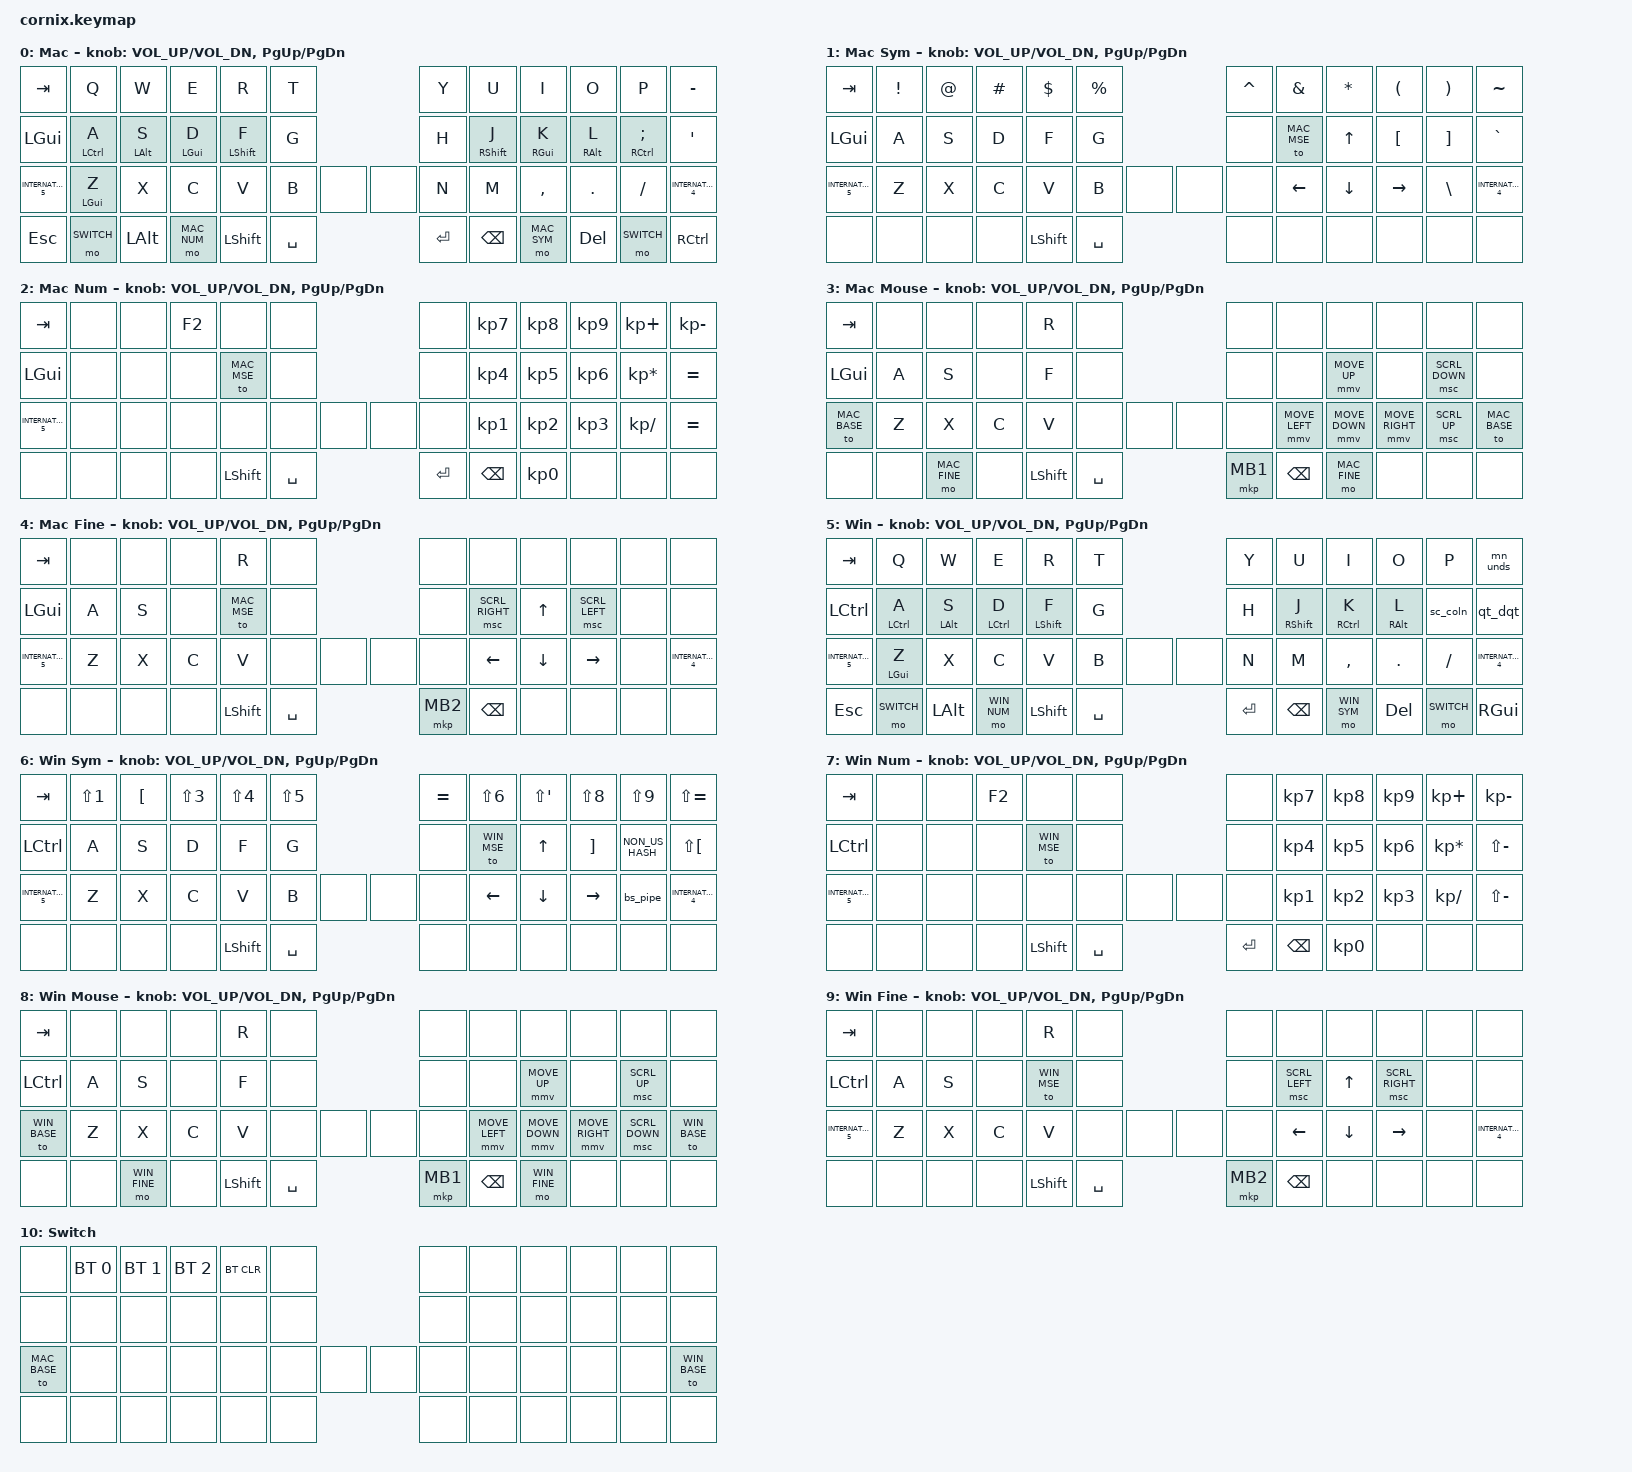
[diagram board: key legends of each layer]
/*
 * Copyright (c) 2020 The ZMK Contributors
 *
 * SPDX-License-Identifier: MIT
 */

#include "zmk-helpers/helper.h"
#include "includes/cornix54.h"
#include <behaviors.dtsi>
#include <dt-bindings/zmk/bt.h>
#include <dt-bindings/zmk/ext_power.h>
#include <dt-bindings/zmk/keys.h>

#define ZMK_POINTING_DEFAULT_MOVE_VAL 4000   // max cursor speed (px/s, default 600)
#define ZMK_POINTING_DEFAULT_SCRL_VAL 15
#include <dt-bindings/zmk/pointing.h>

#define HM_TAPPING_TERM      250
#define HM_TAPPING_TERM_FAST 200
#define HM_PRIOR_IDLE        70

#define MAC_BASE  0
#define MAC_SYM   1
#define MAC_NUM   2
#define MAC_MSE   3
#define MAC_FINE  4
#define WIN_BASE  5
#define WIN_SYM   6
#define WIN_NUM   7
#define WIN_MSE   8
#define WIN_FINE  9
#define SWITCH   10

#define KEYS_L LT0 LT1 LT2 LT3 LT4 LT5 LM0 LM1 LM2 LM3 LM4 LM5 LB0 LB1 LB2 LB3 LB4 LB5
#define KEYS_R RT0 RT1 RT2 RT3 RT4 RT5 RM0 RM1 RM2 RM3 RM4 RM5 RB0 RB1 RB2 RB3 RB4 RB5
#define KEYS_T LH1 LH0 RH0 RH1

&mmv {
    time-to-max-speed-ms = <700>;            // accelerate over 0.7s (default 300)
};

/ {
    behaviors {
        hm_l: homerow_mods_left {
            compatible = "zmk,behavior-hold-tap";
            #binding-cells = <2>;
            bindings = <&kp>, <&kp>;

            flavor = "balanced";
            tapping-term-ms = <HM_TAPPING_TERM>;
            quick-tap-ms = <200>;                // repeat on tap-into-hold
            require-prior-idle-ms = <HM_PRIOR_IDLE>;
            hold-trigger-key-positions = <KEYS_R KEYS_T>;
            hold-trigger-on-release;
        };

        hm_r: homerow_mods_right {
            compatible = "zmk,behavior-hold-tap";
            #binding-cells = <2>;
            bindings = <&kp>, <&kp>;

            flavor = "balanced";
            tapping-term-ms = <HM_TAPPING_TERM>;
            quick-tap-ms = <200>;
            require-prior-idle-ms = <HM_PRIOR_IDLE>;
            hold-trigger-key-positions = <KEYS_L KEYS_T>;
            hold-trigger-on-release;
        };

        // Positional Homerow mods for shift
        // Use faster tapping term and disable some features that may
        // cause false negatives.

        hm_shift_l: hm_shift_l {
            compatible = "zmk,behavior-hold-tap";
            #binding-cells = <2>;
            bindings = <&kp>, <&kp>;

            //flavor = "balanced";

            flavor = "balanced";
            tapping-term-ms = <HM_TAPPING_TERM_FAST>;
            quick-tap-ms = <200>;
            require-prior-idle-ms = <HM_PRIOR_IDLE>;
            hold-trigger-key-positions = <KEYS_R KEYS_T>;
            hold-trigger-on-release;
        };

        hm_shift_r: hm_shift_r {
            compatible = "zmk,behavior-hold-tap";
            #binding-cells = <2>;
            bindings = <&kp>, <&kp>;

            flavor = "balanced";
            tapping-term-ms = <HM_TAPPING_TERM_FAST>;
            quick-tap-ms = <200>;
            require-prior-idle-ms = <HM_PRIOR_IDLE>;
            hold-trigger-key-positions = <KEYS_L KEYS_T>;

            // for quick tapping; shift+~

            hold-trigger-on-release;
        };

        /*
         * Non-Positional Homerow Mods
         * Used for &mm_grescm_gui behavior on left hand.
         *
         * Usage: &hm LSHFT T
         * Tap: T
         * Tap-Tap-Hold: Repeat T
         * Hold: LSHIFT
         */

        hm: homerow_mods {
            compatible = "zmk,behavior-hold-tap";
            #binding-cells = <2>;
            bindings = <&kp>, <&kp>;

            flavor = "balanced";
            tapping-term-ms = <HM_TAPPING_TERM>;
            quick-tap-ms = <200>;
        };

        lt: layer_tap {
            compatible = "zmk,behavior-hold-tap";
            #binding-cells = <2>;
            bindings = <&mo>, <&kp>;

            flavor = "hold-preferred";
            tapping-term-ms = <HM_TAPPING_TERM>;
            quick-tap-ms = <200>;
        };

        sc_coln: semicolon_colon {
            compatible = "zmk,behavior-mod-morph";
            #binding-cells = <0>;
            bindings = <&kp SEMI>, <&kp SQT>;
            mods = <(MOD_LSFT|MOD_RSFT)>;
        };

        mn_unds: minus_underscore {
            compatible = "zmk,behavior-mod-morph";
            #binding-cells = <0>;
            bindings = <&kp MINUS>, <&kp LS(INTERNATIONAL_1)>;
            mods = <(MOD_LSFT|MOD_RSFT)>;
        };

        qt_dqt: quote_doublequote {
            compatible = "zmk,behavior-mod-morph";
            #binding-cells = <0>;
            bindings = <&kp LS(N7)>, <&kp LS(N2)>;
            mods = <(MOD_LSFT|MOD_RSFT)>;
        };

        bs_pipe: backslash_pipe {
            compatible = "zmk,behavior-mod-morph";
            #binding-cells = <0>;
            bindings = <&kp INTERNATIONAL_1>, <&kp LS(INTERNATIONAL_3)>;
            mods = <(MOD_LSFT|MOD_RSFT)>;
        };
    };

    keymap {
        compatible = "zmk,keymap";

        mac_base_layer {
            display-name = "Mac";
            bindings = <
&kp TAB              &kp Q              &kp W             &kp E             &kp R                &kp T                         &kp Y        &kp U                &kp I             &kp O              &kp P                 &kp MINUS
&kp LGUI             &hm_l LCTRL A      &hm_l LALT S      &hm_l LGUI D      &hm_shift_l LSHFT F  &kp G                         &kp H        &hm_shift_r RSHFT J  &hm_r RGUI K      &hm_r RALT L       &hm_r RCTRL SEMI      &kp SQT
&kp INTERNATIONAL_5  &hm_l LGUI Z       &kp X             &kp C             &kp V                &kp B         &none   &none   &kp N        &kp M                &kp COMMA         &kp DOT            &kp FSLH              &kp INTERNATIONAL_4
&kp ESCAPE           &mo SWITCH         &kp LALT           &mo MAC_NUM       &kp LSHFT            &kp SPACE                     &kp RET      &kp BACKSPACE        &mo MAC_SYM       &kp DEL              &mo SWITCH            &kp RCTRL
            >;
            sensor-bindings = <&inc_dec_kp C_VOL_UP C_VOL_DN &inc_dec_kp PG_UP PG_DN>;
        };

        mac_sym_layer {
            display-name = "Mac Sym";
            bindings = <
&kp TAB              &kp EXCL           &kp AT            &kp HASH          &kp DLLR             &kp PRCNT                     &kp CARET    &kp AMPS             &kp ASTRK         &kp LPAR           &kp RPAR              &kp TILDE
&kp LGUI             &kp A              &kp S             &kp D             &kp F                &kp G                         &none        &to MAC_MSE          &kp UP            &kp LBKT           &kp RBKT              &kp GRAVE
&kp INTERNATIONAL_5  &kp Z              &kp X             &kp C             &kp V                &kp B         &none   &none   &none        &kp LEFT             &kp DOWN          &kp RIGHT          &kp BSLH              &kp INTERNATIONAL_4
&none                &none              &none              &none             &kp LSHFT            &kp SPACE                     &none        &none                &none             &none              &none                 &none
            >;
            sensor-bindings = <&inc_dec_kp C_VOL_UP C_VOL_DN &inc_dec_kp PG_UP PG_DN>;
        };

        mac_num_layer {
            display-name = "Mac Num";
            bindings = <
&kp TAB              &none              &none             &kp F2            &none                &none                         &none        &kp KP_N7            &kp KP_N8         &kp KP_N9          &kp KP_PLUS           &kp KP_MINUS
&kp LGUI             &none              &none             &none             &to MAC_MSE          &none                         &none        &kp KP_N4            &kp KP_N5         &kp KP_N6          &kp KP_MULTIPLY       &kp EQUAL
&kp INTERNATIONAL_5  &none              &none             &none             &none                &none         &none   &none   &none        &kp KP_N1            &kp KP_N2         &kp KP_N3          &kp KP_DIVIDE         &kp EQUAL
&none                &none              &none              &none             &kp LSHFT            &kp SPACE                     &kp RET      &kp BACKSPACE        &kp KP_N0         &none              &none                 &none
            >;
            sensor-bindings = <&inc_dec_kp C_VOL_UP C_VOL_DN &inc_dec_kp PG_UP PG_DN>;
        };

        mac_mouse_layer {
            display-name = "Mac Mouse";
            bindings = <
&kp TAB              &none              &none             &none             &kp R                &none                         &none        &none                &none             &none              &none                 &none
&kp LGUI             &kp A              &kp S             &none             &kp F                &none                         &none        &none                &mmv MOVE_UP      &none              &msc SCRL_DOWN        &none
&to MAC_BASE         &kp Z              &kp X             &kp C             &kp V                &none         &none   &none   &none        &mmv MOVE_LEFT       &mmv MOVE_DOWN    &mmv MOVE_RIGHT    &msc SCRL_UP          &to MAC_BASE
&none                &none              &mo MAC_FINE       &none             &kp LSHFT            &kp SPACE                     &mkp MB1     &kp BACKSPACE        &mo MAC_FINE      &none              &none                 &none
            >;
            sensor-bindings = <&inc_dec_kp C_VOL_UP C_VOL_DN &inc_dec_kp PG_UP PG_DN>;
        };

        mac_fine_layer {
            display-name = "Mac Fine";
            bindings = <
&kp TAB              &none              &none             &none             &kp R                &none                         &none        &none                &none             &none              &none                 &none
&kp LGUI             &kp A              &kp S             &none             &to MAC_MSE          &none                         &none        &msc SCRL_RIGHT      &kp UP            &msc SCRL_LEFT     &none                 &none
&kp INTERNATIONAL_5  &kp Z              &kp X             &kp C             &kp V                &none         &none   &none   &none        &kp LEFT             &kp DOWN          &kp RIGHT          &none                 &kp INTERNATIONAL_4
&none                &none              &none              &none             &kp LSHFT            &kp SPACE                     &mkp MB2     &kp BACKSPACE        &none             &none              &none                 &none
            >;
            sensor-bindings = <&inc_dec_kp C_VOL_UP C_VOL_DN &inc_dec_kp PG_UP PG_DN>;
        };

        win_base_layer {
            display-name = "Win";
            bindings = <
&kp TAB              &kp Q              &kp W             &kp E             &kp R                &kp T                         &kp Y        &kp U                &kp I             &kp O              &kp P                 &mn_unds
&kp LCTRL            &hm_l LCTRL A      &hm_l LALT S      &hm_l LCTRL D     &hm_shift_l LSHFT F  &kp G                         &kp H        &hm_shift_r RSHFT J  &hm_r RCTRL K     &hm_r RALT L       &sc_coln              &qt_dqt
&kp INTERNATIONAL_5  &hm_l LGUI Z       &kp X             &kp C             &kp V                &kp B         &none   &none   &kp N        &kp M                &kp COMMA         &kp DOT            &kp FSLH              &kp INTERNATIONAL_4
&kp ESCAPE           &mo SWITCH         &kp LALT           &mo WIN_NUM       &kp LSHFT            &kp SPACE                     &kp RET      &kp BACKSPACE        &mo WIN_SYM       &kp DEL              &mo SWITCH            &kp RGUI
            >;
            sensor-bindings = <&inc_dec_kp C_VOL_UP C_VOL_DN &inc_dec_kp PG_UP PG_DN>;
        };

        win_sym_layer {
            display-name = "Win Sym";
            bindings = <
&kp TAB              &kp LS(N1)         &kp LBKT          &kp LS(N3)        &kp LS(N4)           &kp LS(N5)                    &kp EQUAL    &kp LS(N6)           &kp LS(SQT)       &kp LS(N8)         &kp LS(N9)            &kp LS(EQUAL)
&kp LCTRL            &kp A              &kp S             &kp D             &kp F                &kp G                         &none        &to WIN_MSE          &kp UP            &kp RBKT           &kp NON_US_HASH       &kp LS(LBKT)
&kp INTERNATIONAL_5  &kp Z              &kp X             &kp C             &kp V                &kp B         &none   &none   &none        &kp LEFT             &kp DOWN          &kp RIGHT          &bs_pipe              &kp INTERNATIONAL_4
&none                &none              &none              &none             &kp LSHFT            &kp SPACE                     &none        &none                &none             &none              &none                 &none
            >;
            sensor-bindings = <&inc_dec_kp C_VOL_UP C_VOL_DN &inc_dec_kp PG_UP PG_DN>;
        };

        win_num_layer {
            display-name = "Win Num";
            bindings = <
&kp TAB              &none              &none             &kp F2            &none                &none                         &none        &kp KP_N7            &kp KP_N8         &kp KP_N9          &kp KP_PLUS           &kp KP_MINUS
&kp LCTRL            &none              &none             &none             &to WIN_MSE          &none                         &none        &kp KP_N4            &kp KP_N5         &kp KP_N6          &kp KP_MULTIPLY       &kp LS(MINUS)
&kp INTERNATIONAL_5  &none              &none             &none             &none                &none         &none   &none   &none        &kp KP_N1            &kp KP_N2         &kp KP_N3          &kp KP_DIVIDE         &kp LS(MINUS)
&none                &none              &none              &none             &kp LSHFT            &kp SPACE                     &kp RET      &kp BACKSPACE        &kp KP_N0         &none              &none                 &none
            >;
            sensor-bindings = <&inc_dec_kp C_VOL_UP C_VOL_DN &inc_dec_kp PG_UP PG_DN>;
        };

        win_mouse_layer {
            display-name = "Win Mouse";
            bindings = <
&kp TAB              &none              &none             &none             &kp R                &none                         &none        &none                &none             &none              &none                 &none
&kp LCTRL            &kp A              &kp S             &none             &kp F                &none                         &none        &none                &mmv MOVE_UP      &none              &msc SCRL_UP          &none
&to WIN_BASE         &kp Z              &kp X             &kp C             &kp V                &none         &none   &none   &none        &mmv MOVE_LEFT       &mmv MOVE_DOWN    &mmv MOVE_RIGHT    &msc SCRL_DOWN        &to WIN_BASE
&none                &none              &mo WIN_FINE       &none             &kp LSHFT            &kp SPACE                     &mkp MB1     &kp BACKSPACE        &mo WIN_FINE      &none              &none                 &none
            >;
            sensor-bindings = <&inc_dec_kp C_VOL_UP C_VOL_DN &inc_dec_kp PG_UP PG_DN>;
        };

        win_fine_layer {
            display-name = "Win Fine";
            bindings = <
&kp TAB              &none              &none             &none             &kp R                &none                         &none        &none                &none             &none              &none                 &none
&kp LCTRL            &kp A              &kp S             &none             &to WIN_MSE          &none                         &none        &msc SCRL_LEFT       &kp UP            &msc SCRL_RIGHT    &none                 &none
&kp INTERNATIONAL_5  &kp Z              &kp X             &kp C             &kp V                &none         &none   &none   &none        &kp LEFT             &kp DOWN          &kp RIGHT          &none                 &kp INTERNATIONAL_4
&none                &none              &none              &none             &kp LSHFT            &kp SPACE                     &mkp MB2     &kp BACKSPACE        &none             &none              &none                 &none
            >;
            sensor-bindings = <&inc_dec_kp C_VOL_UP C_VOL_DN &inc_dec_kp PG_UP PG_DN>;
        };

        switch_layer {
            display-name = "Switch";
            bindings = <
&none          &bt BT_SEL 0  &bt BT_SEL 1  &bt BT_SEL 2  &bt BT_CLR  &none    &none  &none  &none  &none  &none  &none
&none          &none  &none  &none  &none  &none    &none  &none  &none  &none  &none  &none
&to MAC_BASE   &none  &none  &none  &none  &none  &none  &none  &none  &none  &none  &none  &none  &to WIN_BASE
&none          &none  &none  &none  &none  &none    &none  &none  &none  &none  &none  &none
            >;
        };
    };
};
